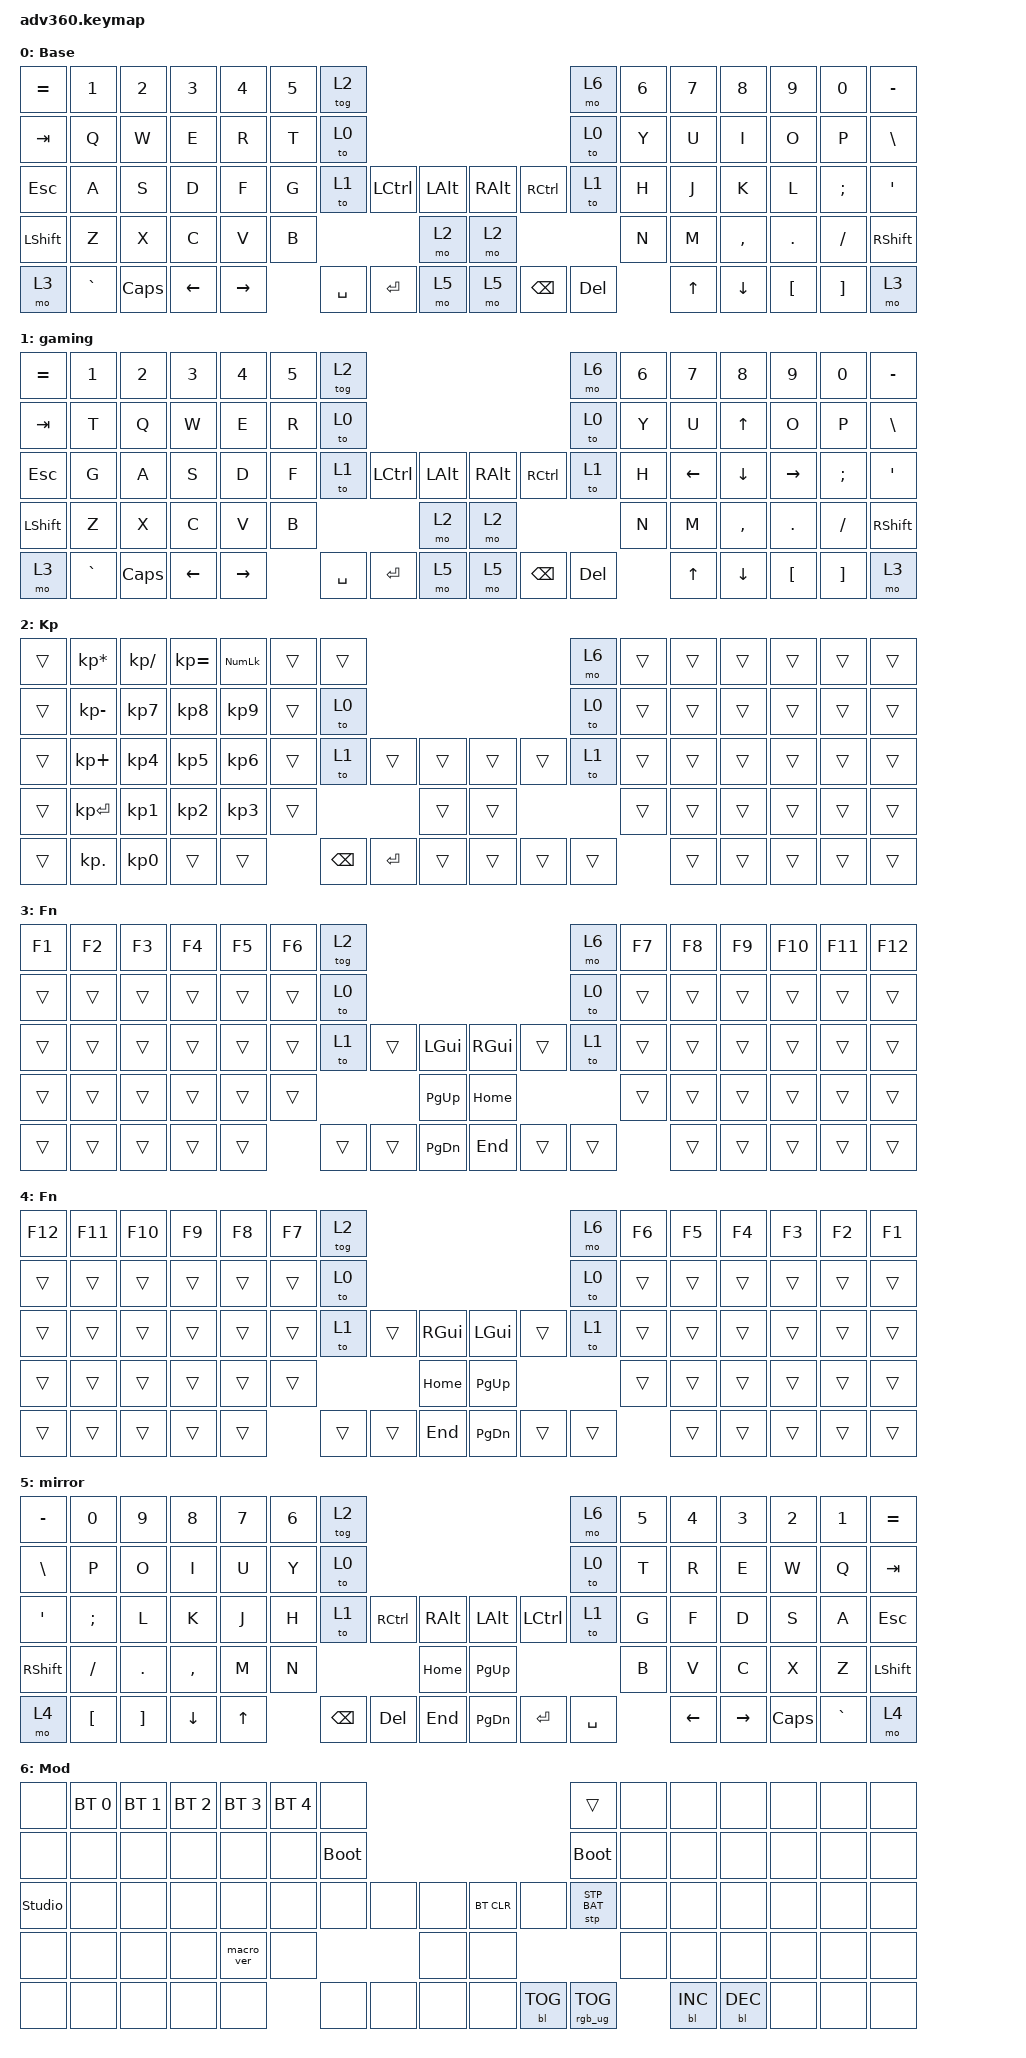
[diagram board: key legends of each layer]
#include <dt-bindings/zmk/stp.h>
#include <behaviors.dtsi>
#include <dt-bindings/zmk/backlight.h>
#include <dt-bindings/zmk/bt.h>
#include <dt-bindings/zmk/keys.h>
#include <dt-bindings/zmk/rgb.h>

/ {
    behaviors {
        #include "macros.dtsi"
      #include "version.dtsi"

        hm: homerow_mods {
            compatible = "zmk,behavior-hold-tap";
            label = "HOMEROW_MODS";
            #binding-cells = <2>;
            tapping-term-ms = <200>;
            quick_tap_ms = <175>;
            flavor = "tap-preferred";
            bindings = <&kp>, <&kp>;
        };

        mo_tog: mo_tog {
            compatible = "zmk,behavior-hold-tap";
            label = "MO_TOG";
            #binding-cells = <2>;
            bindings = <&mo>, <&tog>;

            tapping-term-ms = <200>;
        };
    };

    combos {
        compatible = "zmk,combos";

        jk_LGUI {
            bindings = <&kp LGUI>;
            key-positions = <52 67>;
            layers = <0 1 2 3>;
        };

        jk_RGUI {
            bindings = <&kp RGUI>;
            key-positions = <68 53>;
            layers = <0 1 2 3>;
        };

        jk_LGUI_mirror {
            bindings = <&kp LGUI>;
            key-positions = <68 53>;
            layers = <5>;
        };

        jk_RGUI_mirror {
            bindings = <&kp RGUI>;
            key-positions = <52 67>;
            layers = <5>;
        };
    };

    keymap {
        compatible = "zmk,keymap";

        default_layer {
            display-name = "Base";
            bindings = <
&kp EQUAL  &kp N1     &kp N2    &kp N3    &kp N4     &kp N5  &tog 2                                                   &mo 6    &kp N6  &kp N7  &kp N8     &kp N9    &kp N0    &kp MINUS
&kp TAB    &kp Q      &kp W     &kp E     &kp R      &kp T   &to 0                                                    &to 0    &kp Y   &kp U   &kp I      &kp O     &kp P     &kp BSLH
&kp ESC    &kp A      &kp S     &kp D     &kp F      &kp G   &to 1      &kp LCTRL  &kp LALT      &kp RALT  &kp RCTRL  &to 1    &kp H   &kp J   &kp K      &kp L     &kp SEMI  &kp SQT
&kp LSHFT  &kp Z      &kp X     &kp C     &kp V      &kp B                         &mo 2         &mo 2                         &kp N   &kp M   &kp COMMA  &kp DOT   &kp FSLH  &kp RSHFT
&mo 3      &kp GRAVE  &kp CAPS  &kp LEFT  &kp RIGHT          &kp SPACE  &kp ENTER  &mo 5         &mo 5     &kp BSPC   &kp DEL          &kp UP  &kp DOWN   &kp LBKT  &kp RBKT  &mo 3
            >;
        };

        gaming {
            bindings = <
&kp EQUAL   &kp N1     &kp N2    &kp N3    &kp N4     &kp N5  &tog 2                                                   &mo 6    &kp N6  &kp N7    &kp N8     &kp N9     &kp N0    &kp MINUS
&kp TAB     &kp T      &kp Q     &kp W     &kp E      &kp R   &to 0                                                    &to 0    &kp Y   &kp U     &kp UP     &kp O      &kp P     &kp BSLH
&kp ESC     &kp G      &kp A     &kp S     &kp D      &kp F   &to 1      &kp LCTRL  &kp LALT      &kp RALT  &kp RCTRL  &to 1    &kp H   &kp LEFT  &kp DOWN   &kp RIGHT  &kp SEMI  &kp SQT
&kp LSHIFT  &kp Z      &kp X     &kp C     &kp V      &kp B                         &mo 2         &mo 2                         &kp N   &kp M     &kp COMMA  &kp DOT    &kp FSLH  &kp RSHFT
&mo 3       &kp GRAVE  &kp CAPS  &kp LEFT  &kp RIGHT          &kp SPACE  &kp ENTER  &mo 5         &mo 5     &kp BSPC   &kp DEL          &kp UP    &kp DOWN   &kp LBKT   &kp RBKT  &mo 3
            >;
        };

        left_keypad {
            bindings = <
&trans  &kp KP_MULTIPLY  &kp KP_SLASH  &kp KP_EQUAL  &kp KP_NUM  &trans  &trans                                           &mo 6   &trans  &trans  &trans  &trans  &trans  &trans
&trans  &kp KP_MINUS     &kp KP_N7     &kp KP_N8     &kp KP_N9   &trans  &to 0                                            &to 0   &trans  &trans  &trans  &trans  &trans  &trans
&trans  &kp KP_PLUS      &kp KP_N4     &kp KP_N5     &kp KP_N6   &trans  &to 1     &trans     &trans      &trans  &trans  &to 1   &trans  &trans  &trans  &trans  &trans  &trans
&trans  &kp KP_ENTER     &kp KP_N1     &kp KP_N2     &kp KP_N3   &trans                       &trans      &trans                  &trans  &trans  &trans  &trans  &trans  &trans
&trans  &kp KP_DOT       &kp KP_N0     &trans        &trans              &kp BSPC  &kp ENTER  &trans      &trans  &trans  &trans          &trans  &trans  &trans  &trans  &trans
            >;

            label = "Kp";
        };

        fn {
            display-name = "Fn";
            bindings = <
&kp F1  &kp F2  &kp F3  &kp F4  &kp F5  &kp F6  &tog 2                                              &mo 6   &kp F7  &kp F8  &kp F9  &kp F10  &kp F11  &kp F12
&trans  &trans  &trans  &trans  &trans  &trans  &to 0                                               &to 0   &trans  &trans  &trans  &trans   &trans   &trans
&trans  &trans  &trans  &trans  &trans  &trans  &to 1   &trans  &kp LEFT_GUI      &kp RGUI  &trans  &to 1   &trans  &trans  &trans  &trans   &trans   &trans
&trans  &trans  &trans  &trans  &trans  &trans                  &kp PG_UP         &kp HOME                  &trans  &trans  &trans  &trans   &trans   &trans
&trans  &trans  &trans  &trans  &trans          &trans  &trans  &kp PG_DN         &kp END   &trans  &trans          &trans  &trans  &trans   &trans   &trans
            >;
        };

        fn_mirror {
            display-name = "Fn";
            bindings = <
&kp F12  &kp F11  &kp F10  &kp F9  &kp F8  &kp F7  &tog 2                                           &mo 6   &kp F6  &kp F5  &kp F4  &kp F3  &kp F2  &kp F1
&trans   &trans   &trans   &trans  &trans  &trans  &to 0                                            &to 0   &trans  &trans  &trans  &trans  &trans  &trans
&trans   &trans   &trans   &trans  &trans  &trans  &to 1   &trans  &kp RGUI      &kp LGUI   &trans  &to 1   &trans  &trans  &trans  &trans  &trans  &trans
&trans   &trans   &trans   &trans  &trans  &trans                  &kp HOME      &kp PG_UP                  &trans  &trans  &trans  &trans  &trans  &trans
&trans   &trans   &trans   &trans  &trans          &trans  &trans  &kp END       &kp PG_DN  &trans  &trans          &trans  &trans  &trans  &trans  &trans
            >;
        };

        mirror {
            bindings = <
&kp MINUS  &kp N0    &kp N9    &kp N8     &kp N7  &kp N6  &tog 2                                                       &mo 6      &kp N5  &kp N4    &kp N3     &kp N2    &kp N1     &kp EQUAL
&kp BSLH   &kp P     &kp O     &kp I      &kp U   &kp Y   &to 0                                                        &to 0      &kp T   &kp R     &kp E      &kp W     &kp Q      &kp TAB
&kp SQT    &kp SEMI  &kp L     &kp K      &kp J   &kp H   &to 1     &kp RCTRL  &kp RALT      &kp LALT       &kp LCTRL  &to 1      &kp G   &kp F     &kp D      &kp S     &kp A      &kp ESC
&kp RSHFT  &kp FSLH  &kp DOT   &kp COMMA  &kp M   &kp N                        &kp HOME      &kp PG_UP                            &kp B   &kp V     &kp C      &kp X     &kp Z      &kp LSHFT
&mo 4      &kp LBKT  &kp RBKT  &kp DOWN   &kp UP          &kp BSPC  &kp DEL    &kp END       &kp PAGE_DOWN  &kp ENTER  &kp SPACE          &kp LEFT  &kp RIGHT  &kp CAPS  &kp GRAVE  &mo 4
            >;
        };

        mod {
            display-name = "Mod";
            bindings = <
&none           &bt BT_SEL 0  &bt BT_SEL 1  &bt BT_SEL 2  &bt BT_SEL 3  &bt BT_SEL 4  &none                                                  &trans           &none  &none       &none       &none  &none  &none
&none           &none         &none         &none         &none         &none         &bootloader                                            &bootloader      &none  &none       &none       &none  &none  &none
&studio_unlock  &none         &none         &none         &none         &none         &none        &none  &none      &bt BT_CLR  &none       &stp STP_BAT     &none  &none       &none       &none  &none  &none
&none           &none         &none         &none         &macro_ver    &none                             &none      &none                                    &none  &none       &none       &none  &none  &none
&none           &none         &none         &none         &none                       &none        &none  &none      &none       &bl BL_TOG  &rgb_ug RGB_TOG         &bl BL_INC  &bl BL_DEC  &none  &none  &none
            >;
        };
    };
};
